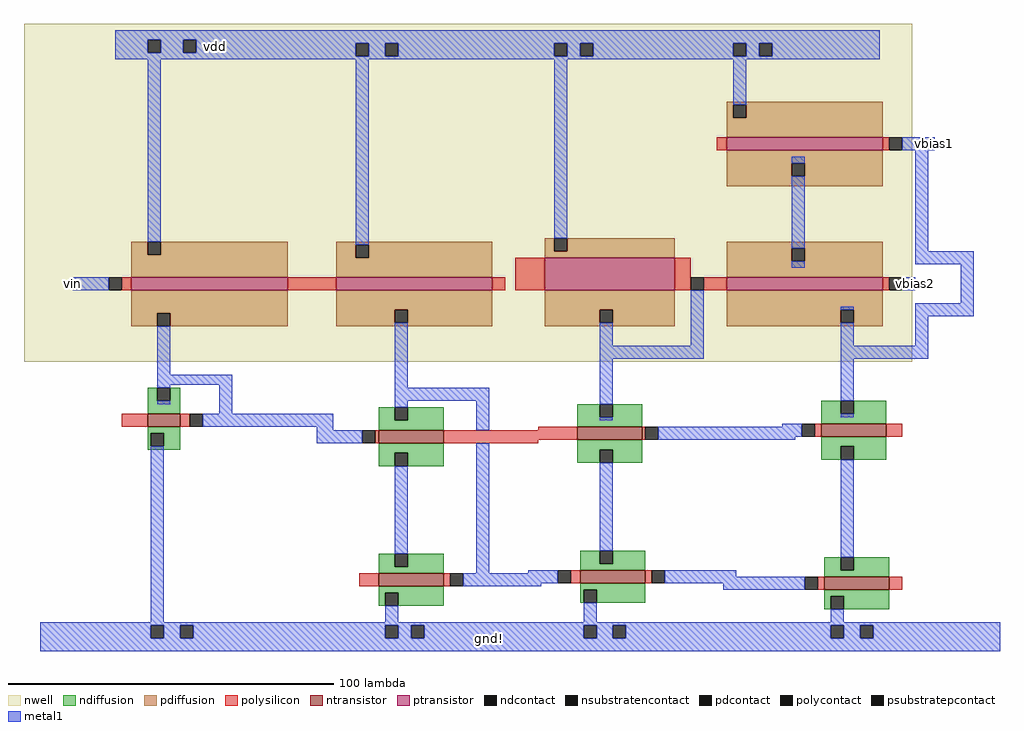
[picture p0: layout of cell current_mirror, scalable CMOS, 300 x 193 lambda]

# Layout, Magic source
magic
tech scmos
<< nwell >>
rect -115 -23 158 81
<< ntransistor >>
rect -77 -43 -67 -39
rect -6 -48 14 -44
rect 55 -47 75 -43
rect 130 -46 150 -42
rect -6 -92 14 -88
rect 56 -91 76 -87
rect 131 -93 151 -89
<< ptransistor >>
rect 101 42 149 46
rect -82 -1 -34 3
rect -19 -1 29 3
rect 45 -1 85 9
rect 101 -1 149 3
<< ndiffusion >>
rect -77 -35 -74 -31
rect -70 -35 -67 -31
rect -77 -39 -67 -35
rect -6 -41 -1 -37
rect 3 -41 14 -37
rect -77 -45 -67 -43
rect -6 -44 14 -41
rect 55 -40 62 -36
rect 66 -40 75 -36
rect 55 -43 75 -40
rect 130 -39 136 -35
rect 140 -39 150 -35
rect 130 -42 150 -39
rect -77 -49 -76 -45
rect -72 -49 -67 -45
rect -77 -50 -67 -49
rect -6 -51 14 -48
rect -6 -55 -1 -51
rect 3 -55 14 -51
rect 55 -50 75 -47
rect 55 -54 62 -50
rect 66 -54 75 -50
rect 130 -49 150 -46
rect 130 -53 136 -49
rect 140 -53 150 -49
rect -6 -86 -1 -82
rect 3 -86 14 -82
rect -6 -88 14 -86
rect 56 -85 62 -81
rect 66 -85 76 -81
rect 56 -87 76 -85
rect 131 -87 136 -83
rect 140 -87 151 -83
rect 131 -89 151 -87
rect -6 -94 14 -92
rect -6 -98 -4 -94
rect 0 -98 14 -94
rect 56 -93 76 -91
rect 56 -97 57 -93
rect 61 -97 76 -93
rect 131 -95 151 -93
rect 131 -99 133 -95
rect 137 -99 151 -95
<< pdiffusion >>
rect 101 56 149 57
rect 101 52 103 56
rect 107 52 149 56
rect 101 46 149 52
rect 101 38 149 42
rect 101 34 121 38
rect 125 34 149 38
rect 101 31 149 34
rect -82 10 -77 14
rect -73 10 -34 14
rect -82 3 -34 10
rect -19 13 29 14
rect -19 9 -13 13
rect -9 9 29 13
rect 45 11 48 15
rect 52 11 85 15
rect 45 9 85 11
rect 101 12 149 14
rect -19 3 29 9
rect 101 8 121 12
rect 125 8 149 12
rect 101 3 149 8
rect -82 -8 -34 -1
rect -82 -12 -74 -8
rect -70 -12 -34 -8
rect -19 -7 29 -1
rect -19 -11 -1 -7
rect 3 -11 29 -7
rect -19 -12 29 -11
rect 45 -7 85 -1
rect 45 -11 62 -7
rect 66 -11 85 -7
rect 45 -12 85 -11
rect 101 -7 149 -1
rect 101 -11 136 -7
rect 140 -11 149 -7
rect 101 -12 149 -11
<< ndcontact >>
rect -74 -35 -70 -31
rect -1 -41 3 -37
rect 62 -40 66 -36
rect 136 -39 140 -35
rect -76 -49 -72 -45
rect -1 -55 3 -51
rect 62 -54 66 -50
rect 136 -53 140 -49
rect -1 -86 3 -82
rect 62 -85 66 -81
rect 136 -87 140 -83
rect -4 -98 0 -94
rect 57 -97 61 -93
rect 133 -99 137 -95
<< pdcontact >>
rect 103 52 107 56
rect 121 34 125 38
rect -77 10 -73 14
rect -13 9 -9 13
rect 48 11 52 15
rect 121 8 125 12
rect -74 -12 -70 -8
rect -1 -11 3 -7
rect 62 -11 66 -7
rect 136 -11 140 -7
<< psubstratepcontact >>
rect -76 -108 -72 -104
rect -67 -108 -63 -104
rect -4 -108 0 -104
rect 4 -108 8 -104
rect 57 -108 61 -104
rect 66 -108 70 -104
rect 133 -108 137 -104
rect 142 -108 146 -104
<< nsubstratencontact >>
rect -77 72 -73 76
rect -66 72 -62 76
rect -13 71 -9 75
rect -4 71 0 75
rect 48 71 52 75
rect 56 71 60 75
rect 103 71 107 75
rect 111 71 115 75
<< polysilicon >>
rect 98 42 101 46
rect 149 42 151 46
rect -85 -1 -82 3
rect -34 -1 -19 3
rect 29 -1 33 3
rect 36 -1 45 9
rect 85 -1 90 9
rect 94 -1 101 3
rect 149 -1 151 3
rect -85 -43 -77 -39
rect -67 -43 -64 -39
rect 43 -44 55 -43
rect -7 -48 -6 -44
rect 14 -47 55 -44
rect 75 -47 76 -43
rect 128 -46 130 -42
rect 150 -46 155 -42
rect 14 -48 43 -47
rect -12 -92 -6 -88
rect 14 -92 16 -88
rect 53 -91 56 -87
rect 76 -91 78 -87
rect 129 -93 131 -89
rect 151 -93 155 -89
<< polycontact >>
rect 151 42 155 46
rect -89 -1 -85 3
rect 90 -1 94 3
rect 151 -1 155 3
rect -64 -43 -60 -39
rect -11 -48 -7 -44
rect 76 -47 80 -43
rect 124 -46 128 -42
rect 16 -92 20 -88
rect 49 -91 53 -87
rect 78 -91 82 -87
rect 125 -93 129 -89
<< metal1 >>
rect -87 76 148 79
rect -87 72 -77 76
rect -73 72 -66 76
rect -62 75 148 76
rect -62 72 -13 75
rect -87 71 -13 72
rect -9 71 -4 75
rect 0 71 48 75
rect 52 71 56 75
rect 60 71 103 75
rect 107 71 111 75
rect 115 71 148 75
rect -87 70 148 71
rect -77 14 -73 70
rect -13 13 -9 70
rect 48 15 52 70
rect 103 56 107 70
rect 155 42 165 46
rect 121 38 125 40
rect 121 12 125 34
rect 121 6 125 8
rect 159 11 163 42
rect 159 7 177 11
rect -100 -1 -89 3
rect 155 -1 159 3
rect -74 -27 -70 -12
rect -74 -30 -51 -27
rect -74 -31 -70 -30
rect -74 -36 -70 -35
rect -55 -39 -51 -30
rect -1 -31 3 -11
rect 62 -18 66 -11
rect 90 -18 94 -1
rect 173 -5 177 7
rect 62 -22 94 -18
rect 136 -7 140 -6
rect 136 -18 140 -11
rect 159 -9 177 -5
rect 159 -18 163 -9
rect 136 -22 163 -18
rect -1 -35 28 -31
rect -1 -37 3 -35
rect -60 -43 -20 -39
rect -25 -44 -20 -43
rect 24 -44 28 -35
rect 62 -36 66 -22
rect 136 -35 140 -22
rect 136 -40 140 -39
rect 62 -41 66 -40
rect 118 -43 124 -42
rect -25 -48 -11 -44
rect 80 -46 124 -43
rect 80 -47 122 -46
rect -76 -103 -72 -49
rect -1 -82 3 -55
rect 24 -88 28 -48
rect 62 -81 66 -54
rect 136 -83 140 -53
rect 40 -88 49 -87
rect 20 -91 49 -88
rect 82 -89 104 -87
rect 82 -91 125 -89
rect 20 -92 44 -91
rect 100 -93 125 -91
rect -4 -103 0 -98
rect 57 -103 61 -97
rect 133 -103 137 -99
rect -110 -104 185 -103
rect -110 -108 -76 -104
rect -72 -108 -67 -104
rect -63 -108 -4 -104
rect 0 -108 4 -104
rect 8 -108 57 -104
rect 61 -108 66 -104
rect 70 -108 133 -104
rect 137 -108 142 -104
rect 146 -108 185 -104
rect -110 -112 185 -108
<< labels >>
rlabel metal1 28 -108 28 -108 1 gnd!
rlabel metal1 -100 -1 -100 3 1 vin
rlabel metal1 -56 74 -56 74 1 vdd
rlabel metal1 165 42 165 46 1 vbias1
rlabel metal1 159 -1 159 3 1 vbias2
<< end >>
